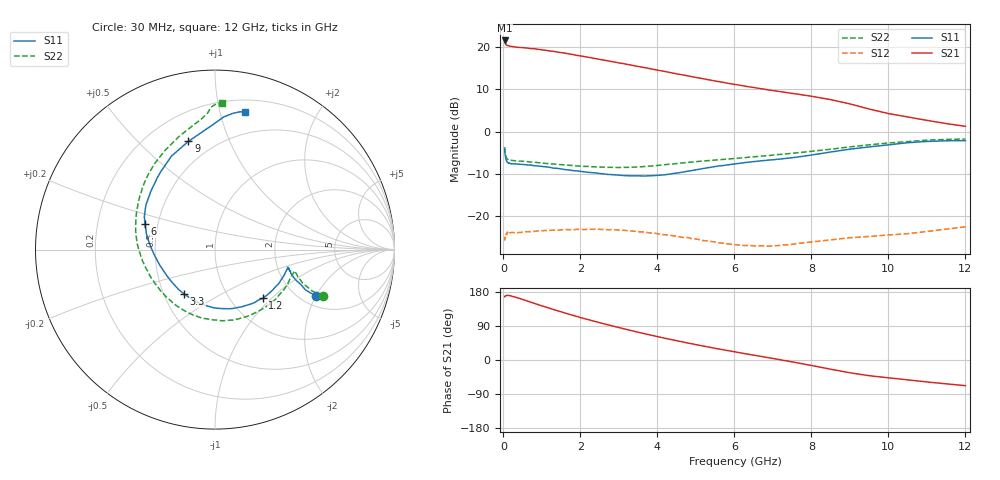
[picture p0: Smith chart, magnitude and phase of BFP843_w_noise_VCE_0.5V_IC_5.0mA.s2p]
! Infineon Technologies  Discrete & RF Semiconductors
! BFP843
! VCE =  0.5 V,  IC =  5.0 mA
! Common Emitter S-Parameters:  Aug 2013
# GHz  S  MA  R  50
!  f  S11  S21  S12  S22
! GHz  MAG  ANG  MAG  ANG  MAG  ANG  MAG  ANG
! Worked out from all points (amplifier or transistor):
!   103 points, 30 MHz to 12 GHz, reference 50 ohm
!   highest |S21| = 21.5 dB at 30 MHz (marker M1)
!   |S21| within 3 dB of that: start of sweep to 1.6 GHz
!   unconditionally stable (mu >= 1): 198.1 MHz to 505.1 MHz; 2.911 GHz to end of sweep
!   at 400 MHz: K = 1.00, MAG = 21.4 dB, |S12| = -23.8 dB
!   at 3.7 GHz: K = 1.12, MAG = 17.3 dB, |S12| = -23.8 dB
!   at 12 GHz: K = 1.00, MAG = 11.5 dB, |S12| = -22.5 dB
!   lowest NFmin = 0.94 dB at 450 MHz
!   S11 on the Smith chart (normalised r, x): 30 MHz: 2.39, -1.99; 1.2 GHz: 1.39, -0.88; 3.3 GHz: 0.63, -0.34; 6 GHz: 0.42, +0.15; 9 GHz: 0.37, +0.72; 12 GHz: 0.30, +1.19
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0.03  0.6178 -24.7  11.94 167.0  0.0517 34.6  0.6567 -23.2
0.04  0.5514 -24.0  11.37 167.5  0.0565 25.4  0.5901 -23.1
0.05  0.5157 -22.1  11.01 169.4  0.0548 24.5  0.5447 -21.7
0.07  0.4644 -19.4  10.59 170.1  0.062 15.8  0.5011 -19.3
0.13  0.429 -14.8  10.31 170.6  0.0618 10.0  0.4617 -15.7
0.6  0.4054 -24.5  9.734 156.4  0.0658 1.8  0.4434 -30.6
0.9  0.3926 -34.9  9.389 146.2  0.0672 0.2  0.4305 -44.0
1.2  0.3795 -45.7  8.975 136.4  0.0683 -1.8  0.4174 -57.9
1.6  0.3563 -60.7  8.454 123.9  0.0699 -4.2  0.4052 -75.5
2.1  0.335 -79.5  7.7 109.3  0.0699 -8.4  0.3882 -97.0
2.7  0.3124 -101.9  6.879 93.2  0.0694 -13.8  0.3791 -120.7
3.3  0.3009 -124.9  6.13 78.1  0.0672 -19.1  0.3802 -143.0
3.7  0.2996 -139.8  5.671 68.6  0.0648 -22.1  0.389 -156.3
4.1  0.3068 -154.3  5.231 59.5  0.0611 -24.9  0.4028 -168.1
5  0.3541 179.0  4.371 40.6  0.054 -27.0  0.4419 171.9
6  0.4153 160.0  3.618 21.8  0.0463 -23.8  0.4822 155.2
6.1  0.4208 158.5  3.558 19.9  0.0459 -23.0  0.4863 153.6
7.3  0.4815 138.2  2.923 -1.4  0.0461 -13.3  0.5442 135.8
8.5  0.575 114.9  2.388 -24.3  0.0527 -10.1  0.6202 116.4
9  0.6209 103.8  2.127 -33.7  0.0559 -10.3  0.6606 107.8
10.5  0.7403 86.3  1.491 -52.4  0.0624 -12.2  0.7631 93.0
12  0.7842 77.8  1.156 -67.7  0.0752 -16.2  0.8188 87.3
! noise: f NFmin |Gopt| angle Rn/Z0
0.45  0.94  0.18  8  0.01
0.9  0.95  0.19  17  0.03
1.5  0.98  0.18  28  0.1
1.9  1.01  0.16  40  0.18
2.4  1.06  0.14  49  0.26
3.5  1.14  0.11  64  0.3
5.5  1.29  0.13  -156  0.38
10  2.08  0.51  -74  0.44
